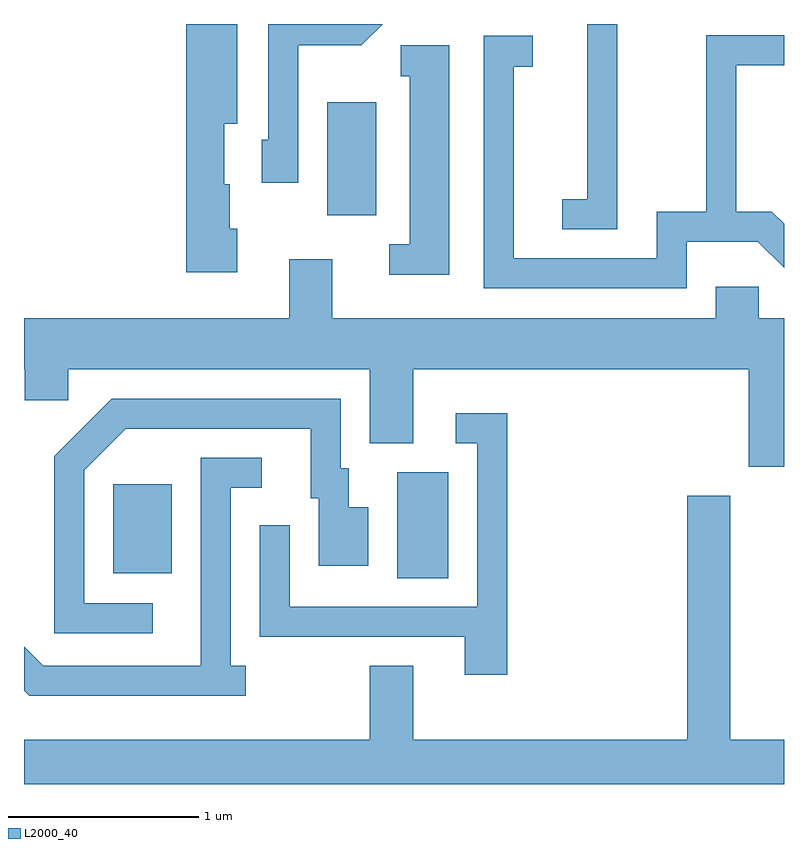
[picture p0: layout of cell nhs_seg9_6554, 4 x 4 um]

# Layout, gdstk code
import gdstk
lib = gdstk.Library(unit=1e-6, precision=1e-09)
def R(c, l, rs):  # rectangles x0, y0, x1, y1
    for r in rs: c.add(gdstk.rectangle(r[:2], r[2:], *l))
def P(c, l, *ps):  # polygons
    for p in ps: c.add(gdstk.Polygon(p, *l))
L2000_40 = (2000, 40)

nhs_seg9_6554 = lib.new_cell('nhs_seg9_6554')
R(nhs_seg9_6554, L2000_40, [(379.576,2079.516,379.844,2080.074), (378.081,2079.541,378.389,2080.009), (379.206,2081.426,379.464,2082.019)])
P(nhs_seg9_6554, L2000_40, [(378.734,2081.354),(378.694,2081.354),(378.694,2081.589),(378.664,2081.589),(378.664,2081.906),(378.734,2081.906),(378.734,2082.432),(378.466,2082.432),(378.466,2081.126),(378.734,2081.126)],
  [(379.054,2082.321),(379.387,2082.321),(379.498,2082.432),(378.896,2082.432),(378.896,2081.824),(378.861,2081.824),(378.861,2081.596),(379.054,2081.596)],
  [(380.734,2082.432),(380.576,2082.432),(380.576,2081.509),(380.443,2081.509),(380.443,2081.351),(380.734,2081.351)],
  [(381.099,2081.286),(381.474,2081.286),(381.611,2081.149),(381.611,2081.38),(381.547,2081.444),(381.359,2081.444),(381.359,2082.216),(381.611,2082.216),(381.611,2082.374),(381.201,2082.374),(381.201,2081.444),(380.941,2081.444),(380.941,2081.199),(380.189,2081.199),(380.189,2082.206),(380.288,2082.206),(380.288,2082.369),(380.031,2082.369),(380.031,2081.041),(381.099,2081.041)],
  [(379.849,2082.319),(379.593,2082.319),(379.593,2082.156),(379.641,2082.156),(379.641,2081.274),(379.533,2081.274),(379.533,2081.111),(379.849,2081.111)],
  [(381.611,2080.884),(381.479,2080.884),(381.479,2081.049),(381.251,2081.049),(381.251,2080.884),(379.234,2080.884),(379.234,2081.194),(379.006,2081.194),(379.006,2080.884),(377.611,2080.884),(377.611,2080.616),(377.616,2080.616),(377.616,2080.451),(377.844,2080.451),(377.844,2080.616),(379.431,2080.616),(379.431,2080.226),(379.659,2080.226),(379.659,2080.616),(381.426,2080.616),(381.426,2080.101),(381.611,2080.101)],
  [(378.288,2079.384),(377.929,2079.384),(377.929,2080.084),(378.147,2080.301),(379.121,2080.301),(379.121,2079.936),(379.161,2079.936),(379.161,2079.581),(379.424,2079.581),(379.424,2079.889),(379.319,2079.889),(379.319,2080.094),(379.279,2080.094),(379.279,2080.459),(378.074,2080.459),(377.771,2080.157),(377.771,2079.226),(378.288,2079.226)],
  [(380.154,2080.384),(379.883,2080.384),(379.883,2080.226),(379.996,2080.226),(379.996,2079.364),(379.009,2079.364),(379.009,2079.793),(378.851,2079.793),(378.851,2079.206),(379.931,2079.206),(379.931,2079.006),(380.154,2079.006)],
  [(378.778,2079.054),(378.699,2079.054),(378.699,2079.991),(378.863,2079.991),(378.863,2080.149),(378.541,2080.149),(378.541,2079.054),(377.712,2079.054),(377.611,2079.155),(377.611,2078.924),(377.639,2078.896),(378.778,2078.896)],
  [(381.611,2078.664),(381.329,2078.664),(381.329,2079.949),(381.101,2079.949),(381.101,2078.664),(379.659,2078.664),(379.659,2079.054),(379.431,2079.054),(379.431,2078.664),(377.611,2078.664),(377.611,2078.432),(381.611,2078.432)])

lib.write_gds('nhs_seg9_6554.gds')
